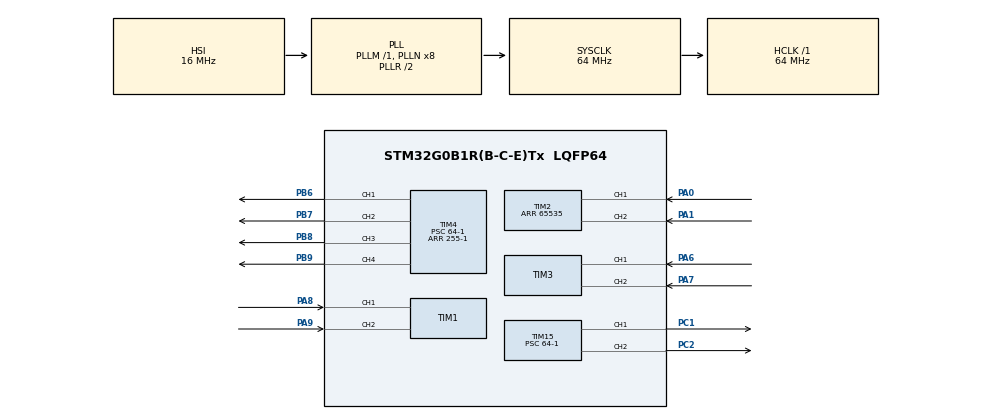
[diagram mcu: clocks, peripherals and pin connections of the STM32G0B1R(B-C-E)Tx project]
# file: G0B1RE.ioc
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Mcu.Family=STM32G0
Mcu.Name=STM32G0B1R(B-C-E)Tx
Mcu.Package=LQFP64
NVIC.TIM1_BRK_UP_TRG_COM_IRQn=true\:0\:0\:false\:false\:true\:true\:true\:true
NVIC.TIM1_CC_IRQn=true\:0\:0\:false\:false\:true\:true\:true\:true
NVIC.TIM2_IRQn=true\:0\:0\:false\:false\:true\:true\:true\:true
NVIC.TIM3_TIM4_IRQn=true\:0\:0\:false\:false\:true\:true\:true\:true
PA0.Signal=S_TIM2_CH1_ETR
PA1.Signal=S_TIM2_CH2
PA6.Signal=S_TIM3_CH1
PA7.Signal=S_TIM3_CH2
PA8.Signal=S_TIM1_CH1
PA9.Signal=S_TIM1_CH2
PB6.Signal=S_TIM4_CH1
PB7.Signal=S_TIM4_CH2
PB8.Signal=S_TIM4_CH3
PB9.Signal=S_TIM4_CH4
PC1.Signal=S_TIM15_CH1
PC2.Signal=S_TIM15_CH2
ProjectManager.HeapSize=0x200
ProjectManager.StackSize=0x400
ProjectManager.TargetToolchain=STM32CubeIDE
RCC.ADCFreq_Value=64000000
RCC.AHBFreq_Value=64000000
RCC.CortexFreq_Value=64000000
RCC.EXTERNAL_CLOCK_VALUE=48000
RCC.HCLKFreq_Value=64000000
RCC.HSE_VALUE=8000000
RCC.HSI48_VALUE=48000000
RCC.HSI_VALUE=16000000
RCC.LSE_VALUE=32768
RCC.SYSCLKFreq_VALUE=64000000
RCC.SYSCLKSource=RCC_SYSCLKSOURCE_PLLCLK
RCC.USBFreq_Value=48000000
RCC.VCOOutputFreq_Value=128000000
SH.S_TIM15_CH1.0=TIM15_CH1,PWM Generation1 CH1
SH.S_TIM15_CH2.0=TIM15_CH2,PWM Generation2 CH2
SH.S_TIM1_CH1.0=TIM1_CH1,Encoder_Interface
SH.S_TIM1_CH2.0=TIM1_CH2,Encoder_Interface
SH.S_TIM2_CH1_ETR.0=TIM2_CH1,Encoder_Interface
SH.S_TIM2_CH2.0=TIM2_CH2,Encoder_Interface
SH.S_TIM3_CH1.0=TIM3_CH1,Encoder_Interface
SH.S_TIM3_CH2.0=TIM3_CH2,Encoder_Interface
SH.S_TIM4_CH1.0=TIM4_CH1,PWM Generation1 CH1
SH.S_TIM4_CH2.0=TIM4_CH2,PWM Generation2 CH2
SH.S_TIM4_CH3.0=TIM4_CH3,PWM Generation3 CH3
SH.S_TIM4_CH4.0=TIM4_CH4,PWM Generation4 CH4
TIM1.EncoderMode=TIM_ENCODERMODE_TI12
TIM1.IC1Filter=5
TIM1.IC2Filter=5
TIM1.TIM_MasterOutputTrigger=TIM_TRGO_RESET
TIM15.Channel-PWM\ Generation1\ CH1=TIM_CHANNEL_1
TIM15.Channel-PWM\ Generation2\ CH2=TIM_CHANNEL_2
TIM15.Period=255-1
TIM15.Prescaler=64-1
TIM2.EncoderMode=TIM_ENCODERMODE_TI12
TIM2.IC1Filter=5
TIM2.IC2Filter=5
TIM2.Period=65535
TIM2.TIM_MasterOutputTrigger=TIM_TRGO_RESET
TIM3.EncoderMode=TIM_ENCODERMODE_TI12
TIM3.IC1Filter=5
TIM3.IC2Filter=5
TIM4.Channel-PWM\ Generation1\ CH1=TIM_CHANNEL_1
TIM4.Channel-PWM\ Generation2\ CH2=TIM_CHANNEL_2
TIM4.Channel-PWM\ Generation3\ CH3=TIM_CHANNEL_3
TIM4.Channel-PWM\ Generation4\ CH4=TIM_CHANNEL_4
TIM4.Period=255-1
TIM4.Prescaler=64-1
VP_SYS_VS_DBSignals.Mode=DisableDeadBatterySignals
VP_TIM15_VS_ClockSourceINT.Mode=Internal
VP_TIM4_VS_ClockSourceINT.Mode=Internal
board=custom

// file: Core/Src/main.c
/* USER CODE BEGIN Header */
/**
  ******************************************************************************
  * @file           : main.c
  * @brief          : Main program body
  ******************************************************************************
  * @attention
  *
  * Copyright (c) 2024 STMicroelectronics.
  * All rights reserved.
  *
  * This software is licensed under terms that can be found in the LICENSE file
  * in the root directory of this software component.
  * If no LICENSE file comes with this software, it is provided AS-IS.
  *
  ******************************************************************************
  */
/* USER CODE END Header */
#include "main.h"

TIM_HandleTypeDef htim1;
TIM_HandleTypeDef htim2;
TIM_HandleTypeDef htim3;
TIM_HandleTypeDef htim4;
TIM_HandleTypeDef htim15;

/* USER CODE BEGIN PV */
struct Motor motor1;
struct Motor motor2;
struct Motor motor3;
/* USER CODE END PV */

void SystemClock_Config(void);
static void MX_GPIO_Init(void);
static void MX_TIM4_Init(void);
static void MX_TIM15_Init(void);
static void MX_TIM1_Init(void);
static void MX_TIM2_Init(void);
static void MX_TIM3_Init(void);
/* USER CODE BEGIN PFP */
//void HAL_TIM_IC_CaptureCallback(TIM_HandleTypeDef *htim);
/* USER CODE END PFP */

int main(void)
{

  /* MCU Configuration--------------------------------------------------------*/

  /* Reset of all peripherals, Initializes the Flash interface and the Systick. */
  HAL_Init();

  /* Configure the system clock */
  SystemClock_Config();

  /* Initialize all configured peripherals */
  MX_GPIO_Init();
  MX_TIM4_Init();
  MX_TIM15_Init();
  MX_TIM1_Init();
  MX_TIM2_Init();
  MX_TIM3_Init();
  /* USER CODE BEGIN 2 */
  //Encoders
  //TIM 1
  HAL_TIM_Encoder_Start_IT(&htim1, TIM_CHANNEL_ALL);

  //TIM 2
  HAL_TIM_Encoder_Start_IT(&htim2, TIM_CHANNEL_ALL);

  //TIM 3
  HAL_TIM_Encoder_Start_IT(&htim3, TIM_CHANNEL_ALL);

  //PWM
  //TIM 4
  HAL_TIM_PWM_Start(&htim4, TIM_CHANNEL_1);
  HAL_TIM_PWM_Start(&htim4, TIM_CHANNEL_2);
  HAL_TIM_PWM_Start(&htim4, TIM_CHANNEL_3);
  HAL_TIM_PWM_Start(&htim4, TIM_CHANNEL_4);

  // TIM 15
  HAL_TIM_PWM_Start(&htim15, TIM_CHANNEL_1);
  HAL_TIM_PWM_Start(&htim15, TIM_CHANNEL_2);

  //Variables

  //Encoder variables
//  uint16_t encoder1_count = 0;
  /* USER CODE END 2 */

  /* Infinite loop */
  /* USER CODE BEGIN WHILE */
  while (1)
  {
//	  encoder1_count = TIM1->CNT;
//	  encoder2_count = TIM2->CNT;
//	  encoder3_count = TIM3->CNT;

    /* USER CODE END WHILE */

  }
}

void SystemClock_Config(void)
{
  RCC_OscInitTypeDef RCC_OscInitStruct = {0};
  RCC_ClkInitTypeDef RCC_ClkInitStruct = {0};

  /** Configure the main internal regulator output voltage
  */
  HAL_PWREx_ControlVoltageScaling(PWR_REGULATOR_VOLTAGE_SCALE1);

  /** Initializes the RCC Oscillators according to the specified parameters
  * in the RCC_OscInitTypeDef structure.
  */
  RCC_OscInitStruct.OscillatorType = RCC_OSCILLATORTYPE_HSI;
  RCC_OscInitStruct.HSIState = RCC_HSI_ON;
  RCC_OscInitStruct.HSIDiv = RCC_HSI_DIV1;
  RCC_OscInitStruct.HSICalibrationValue = RCC_HSICALIBRATION_DEFAULT;
  RCC_OscInitStruct.PLL.PLLState = RCC_PLL_ON;
  RCC_OscInitStruct.PLL.PLLSource = RCC_PLLSOURCE_HSI;
  RCC_OscInitStruct.PLL.PLLM = RCC_PLLM_DIV1;
  RCC_OscInitStruct.PLL.PLLN = 8;
  RCC_OscInitStruct.PLL.PLLP = RCC_PLLP_DIV2;
  RCC_OscInitStruct.PLL.PLLQ = RCC_PLLQ_DIV2;
  RCC_OscInitStruct.PLL.PLLR = RCC_PLLR_DIV2;
  if (HAL_RCC_OscConfig(&RCC_OscInitStruct) != HAL_OK)
  {
    Error_Handler();
  }

  /** Initializes the CPU, AHB and APB buses clocks
  */
  RCC_ClkInitStruct.ClockType = RCC_CLOCKTYPE_HCLK|RCC_CLOCKTYPE_SYSCLK
                              |RCC_CLOCKTYPE_PCLK1;
  RCC_ClkInitStruct.SYSCLKSource = RCC_SYSCLKSOURCE_PLLCLK;
  RCC_ClkInitStruct.AHBCLKDivider = RCC_SYSCLK_DIV1;
  RCC_ClkInitStruct.APB1CLKDivider = RCC_HCLK_DIV1;

  if (HAL_RCC_ClockConfig(&RCC_ClkInitStruct, FLASH_LATENCY_2) != HAL_OK)
  {
    Error_Handler();
  }
}

static void MX_TIM1_Init(void)
{

  TIM_Encoder_InitTypeDef sConfig = {0};
  TIM_MasterConfigTypeDef sMasterConfig = {0};

  htim1.Instance = TIM1;
  htim1.Init.Prescaler = 0;
  htim1.Init.CounterMode = TIM_COUNTERMODE_UP;
  htim1.Init.Period = 65535;
  htim1.Init.ClockDivision = TIM_CLOCKDIVISION_DIV1;
  htim1.Init.RepetitionCounter = 0;
  htim1.Init.AutoReloadPreload = TIM_AUTORELOAD_PRELOAD_DISABLE;
  sConfig.EncoderMode = TIM_ENCODERMODE_TI12;
  sConfig.IC1Polarity = TIM_ICPOLARITY_RISING;
  sConfig.IC1Selection = TIM_ICSELECTION_DIRECTTI;
  sConfig.IC1Prescaler = TIM_ICPSC_DIV1;
  sConfig.IC1Filter = 5;
  sConfig.IC2Polarity = TIM_ICPOLARITY_RISING;
  sConfig.IC2Selection = TIM_ICSELECTION_DIRECTTI;
  sConfig.IC2Prescaler = TIM_ICPSC_DIV1;
  sConfig.IC2Filter = 5;
  if (HAL_TIM_Encoder_Init(&htim1, &sConfig) != HAL_OK)
  {
    Error_Handler();
  }
  sMasterConfig.MasterOutputTrigger = TIM_TRGO_RESET;
  sMasterConfig.MasterOutputTrigger2 = TIM_TRGO2_RESET;
  sMasterConfig.MasterSlaveMode = TIM_MASTERSLAVEMODE_DISABLE;
  if (HAL_TIMEx_MasterConfigSynchronization(&htim1, &sMasterConfig) != HAL_OK)
  {
    Error_Handler();
  }

}

static void MX_TIM2_Init(void)
{

  TIM_Encoder_InitTypeDef sConfig = {0};
  TIM_MasterConfigTypeDef sMasterConfig = {0};

  htim2.Instance = TIM2;
  htim2.Init.Prescaler = 0;
  htim2.Init.CounterMode = TIM_COUNTERMODE_UP;
  htim2.Init.Period = 65535;
  htim2.Init.ClockDivision = TIM_CLOCKDIVISION_DIV1;
  htim2.Init.AutoReloadPreload = TIM_AUTORELOAD_PRELOAD_DISABLE;
  sConfig.EncoderMode = TIM_ENCODERMODE_TI12;
  sConfig.IC1Polarity = TIM_ICPOLARITY_RISING;
  sConfig.IC1Selection = TIM_ICSELECTION_DIRECTTI;
  sConfig.IC1Prescaler = TIM_ICPSC_DIV1;
  sConfig.IC1Filter = 5;
  sConfig.IC2Polarity = TIM_ICPOLARITY_RISING;
  sConfig.IC2Selection = TIM_ICSELECTION_DIRECTTI;
  sConfig.IC2Prescaler = TIM_ICPSC_DIV1;
  sConfig.IC2Filter = 5;
  if (HAL_TIM_Encoder_Init(&htim2, &sConfig) != HAL_OK)
  {
    Error_Handler();
  }
  sMasterConfig.MasterOutputTrigger = TIM_TRGO_RESET;
  sMasterConfig.MasterSlaveMode = TIM_MASTERSLAVEMODE_DISABLE;
  if (HAL_TIMEx_MasterConfigSynchronization(&htim2, &sMasterConfig) != HAL_OK)
  {
    Error_Handler();
  }

}

static void MX_TIM3_Init(void)
{

  TIM_Encoder_InitTypeDef sConfig = {0};
  TIM_MasterConfigTypeDef sMasterConfig = {0};

  htim3.Instance = TIM3;
  htim3.Init.Prescaler = 0;
  htim3.Init.CounterMode = TIM_COUNTERMODE_UP;
  htim3.Init.Period = 65535;
  htim3.Init.ClockDivision = TIM_CLOCKDIVISION_DIV1;
  htim3.Init.AutoReloadPreload = TIM_AUTORELOAD_PRELOAD_DISABLE;
  sConfig.EncoderMode = TIM_ENCODERMODE_TI12;
  sConfig.IC1Polarity = TIM_ICPOLARITY_RISING;
  sConfig.IC1Selection = TIM_ICSELECTION_DIRECTTI;
  sConfig.IC1Prescaler = TIM_ICPSC_DIV1;
  sConfig.IC1Filter = 5;
  sConfig.IC2Polarity = TIM_ICPOLARITY_RISING;
  sConfig.IC2Selection = TIM_ICSELECTION_DIRECTTI;
  sConfig.IC2Prescaler = TIM_ICPSC_DIV1;
  sConfig.IC2Filter = 5;
  if (HAL_TIM_Encoder_Init(&htim3, &sConfig) != HAL_OK)
  {
    Error_Handler();
  }
  sMasterConfig.MasterOutputTrigger = TIM_TRGO_RESET;
  sMasterConfig.MasterSlaveMode = TIM_MASTERSLAVEMODE_DISABLE;
  if (HAL_TIMEx_MasterConfigSynchronization(&htim3, &sMasterConfig) != HAL_OK)
  {
    Error_Handler();
  }

}

static void MX_TIM4_Init(void)
{

  TIM_ClockConfigTypeDef sClockSourceConfig = {0};
  TIM_MasterConfigTypeDef sMasterConfig = {0};
  TIM_OC_InitTypeDef sConfigOC = {0};

  htim4.Instance = TIM4;
  htim4.Init.Prescaler = 64-1;
  htim4.Init.CounterMode = TIM_COUNTERMODE_UP;
  htim4.Init.Period = 255-1;
  htim4.Init.ClockDivision = TIM_CLOCKDIVISION_DIV1;
  htim4.Init.AutoReloadPreload = TIM_AUTORELOAD_PRELOAD_DISABLE;
  if (HAL_TIM_Base_Init(&htim4) != HAL_OK)
  {
    Error_Handler();
  }
  sClockSourceConfig.ClockSource = TIM_CLOCKSOURCE_INTERNAL;
  if (HAL_TIM_ConfigClockSource(&htim4, &sClockSourceConfig) != HAL_OK)
  {
    Error_Handler();
  }
  if (HAL_TIM_PWM_Init(&htim4) != HAL_OK)
  {
    Error_Handler();
  }
  sMasterConfig.MasterOutputTrigger = TIM_TRGO_RESET;
  sMasterConfig.MasterSlaveMode = TIM_MASTERSLAVEMODE_DISABLE;
  if (HAL_TIMEx_MasterConfigSynchronization(&htim4, &sMasterConfig) != HAL_OK)
  {
    Error_Handler();
  }
  sConfigOC.OCMode = TIM_OCMODE_PWM1;
  sConfigOC.Pulse = 0;
  sConfigOC.OCPolarity = TIM_OCPOLARITY_HIGH;
  sConfigOC.OCFastMode = TIM_OCFAST_DISABLE;
  if (HAL_TIM_PWM_ConfigChannel(&htim4, &sConfigOC, TIM_CHANNEL_1) != HAL_OK)
  {
    Error_Handler();
  }
  if (HAL_TIM_PWM_ConfigChannel(&htim4, &sConfigOC, TIM_CHANNEL_2) != HAL_OK)
  {
    Error_Handler();
  }
  if (HAL_TIM_PWM_ConfigChannel(&htim4, &sConfigOC, TIM_CHANNEL_3) != HAL_OK)
  {
    Error_Handler();
  }
  if (HAL_TIM_PWM_ConfigChannel(&htim4, &sConfigOC, TIM_CHANNEL_4) != HAL_OK)
  {
    Error_Handler();
  }
  HAL_TIM_MspPostInit(&htim4);

}

static void MX_TIM15_Init(void)
{

  TIM_ClockConfigTypeDef sClockSourceConfig = {0};
  TIM_MasterConfigTypeDef sMasterConfig = {0};
  TIM_OC_InitTypeDef sConfigOC = {0};
  TIM_BreakDeadTimeConfigTypeDef sBreakDeadTimeConfig = {0};

  htim15.Instance = TIM15;
  htim15.Init.Prescaler = 64-1;
  htim15.Init.CounterMode = TIM_COUNTERMODE_UP;
  htim15.Init.Period = 255-1;
  htim15.Init.ClockDivision = TIM_CLOCKDIVISION_DIV1;
  htim15.Init.RepetitionCounter = 0;
  htim15.Init.AutoReloadPreload = TIM_AUTORELOAD_PRELOAD_DISABLE;
  if (HAL_TIM_Base_Init(&htim15) != HAL_OK)
  {
    Error_Handler();
  }
  sClockSourceConfig.ClockSource = TIM_CLOCKSOURCE_INTERNAL;
  if (HAL_TIM_ConfigClockSource(&htim15, &sClockSourceConfig) != HAL_OK)
  {
    Error_Handler();
  }
  if (HAL_TIM_PWM_Init(&htim15) != HAL_OK)
  {
    Error_Handler();
  }
  sMasterConfig.MasterOutputTrigger = TIM_TRGO_RESET;
  sMasterConfig.MasterSlaveMode = TIM_MASTERSLAVEMODE_DISABLE;
  if (HAL_TIMEx_MasterConfigSynchronization(&htim15, &sMasterConfig) != HAL_OK)
  {
    Error_Handler();
  }
  sConfigOC.OCMode = TIM_OCMODE_PWM1;
  sConfigOC.Pulse = 0;
  sConfigOC.OCPolarity = TIM_OCPOLARITY_HIGH;
  sConfigOC.OCNPolarity = TIM_OCNPOLARITY_HIGH;
  sConfigOC.OCFastMode = TIM_OCFAST_DISABLE;
  sConfigOC.OCIdleState = TIM_OCIDLESTATE_RESET;
  sConfigOC.OCNIdleState = TIM_OCNIDLESTATE_RESET;
  if (HAL_TIM_PWM_ConfigChannel(&htim15, &sConfigOC, TIM_CHANNEL_1) != HAL_OK)
  {
    Error_Handler();
  }
  if (HAL_TIM_PWM_ConfigChannel(&htim15, &sConfigOC, TIM_CHANNEL_2) != HAL_OK)
  {
    Error_Handler();
  }
  sBreakDeadTimeConfig.OffStateRunMode = TIM_OSSR_DISABLE;
  sBreakDeadTimeConfig.OffStateIDLEMode = TIM_OSSI_DISABLE;
  sBreakDeadTimeConfig.LockLevel = TIM_LOCKLEVEL_OFF;
  sBreakDeadTimeConfig.DeadTime = 0;
  sBreakDeadTimeConfig.BreakState = TIM_BREAK_DISABLE;
  sBreakDeadTimeConfig.BreakPolarity = TIM_BREAKPOLARITY_HIGH;
  sBreakDeadTimeConfig.BreakFilter = 0;
  sBreakDeadTimeConfig.AutomaticOutput = TIM_AUTOMATICOUTPUT_DISABLE;
  if (HAL_TIMEx_ConfigBreakDeadTime(&htim15, &sBreakDeadTimeConfig) != HAL_OK)
  {
    Error_Handler();
  }
  HAL_TIM_MspPostInit(&htim15);

}

static void MX_GPIO_Init(void)
{

  /* GPIO Ports Clock Enable */
  __HAL_RCC_GPIOC_CLK_ENABLE();
  __HAL_RCC_GPIOA_CLK_ENABLE();
  __HAL_RCC_GPIOB_CLK_ENABLE();

}

/* USER CODE BEGIN 4 */
void HAL_TIM_IC_CaptureCallback(TIM_HandleTypeDef *htim){
	if (htim->Instance == htim1.Instance) motor1.encoder = getEncoder(htim);
	else if (htim->Instance == htim2.Instance) motor2.encoder = getEncoder(htim);
	else motor3.encoder = getEncoder(htim);
}

/* USER CODE END 4 */

void Error_Handler(void)
{
  __disable_irq();
  while (1)
  {
  }
}
